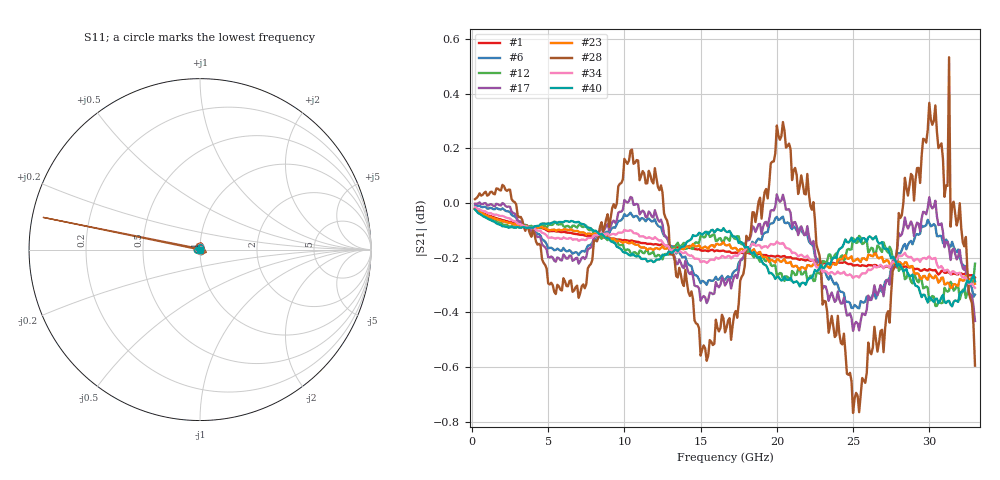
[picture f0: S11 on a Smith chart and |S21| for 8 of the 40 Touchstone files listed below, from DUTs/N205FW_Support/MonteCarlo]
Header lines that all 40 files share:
# GHZ S RI R 50
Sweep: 200 MHz to 33 GHz
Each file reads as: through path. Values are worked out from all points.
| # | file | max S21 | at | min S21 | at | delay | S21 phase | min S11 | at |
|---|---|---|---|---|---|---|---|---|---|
| 1 | N205FW_1.s2p | -0.02 dB | 200 MHz | -0.3 dB | 33 GHz | 248 ps | -42 deg at 16.6 GHz | -74.2 dB | 200 MHz |
| 2 | N205FW_4.s2p | -0.02 dB | 200 MHz | -0.3 dB | 33 GHz | 248 ps | -42 deg at 16.6 GHz | -72.4 dB | 200 MHz |
| 3 | N205FW_9.s2p | -0.02 dB | 200 MHz | -0.3 dB | 30.4 GHz | 248 ps | -42 deg at 16.6 GHz | -69.2 dB | 3.1 GHz |
| 4 | N205FW_15.s2p | 0.03 dB | 30 GHz | -0.5 dB | 25 GHz | 248 ps | -42 deg at 16.6 GHz | -69.1 dB | 28.3 GHz |
| 5 | N205FW_16.s2p | -0.02 dB | 200 MHz | -0.3 dB | 30.6 GHz | 248 ps | -42 deg at 16.6 GHz | -75.0 dB | 3.2 GHz |
| 6 | N205FW_17.s2p | -0.01 dB | 200 MHz | -0.4 dB | 25.4 GHz | 248 ps | -42 deg at 16.6 GHz | -67.3 dB | 200 MHz |
| 7 | N205FW_21.s2p | -0.01 dB | 200 MHz | -0.4 dB | 24.9 GHz | 248 ps | -42 deg at 16.6 GHz | -67.1 dB | 200 MHz |
| 8 | N205FW_24.s2p | -0.02 dB | 200 MHz | -0.4 dB | 30.4 GHz | 248 ps | -42 deg at 16.6 GHz | -66.4 dB | 200 MHz |
| 9 | N205FW_29.s2p | -0.01 dB | 200 MHz | -0.3 dB | 24.9 GHz | 248 ps | -42 deg at 16.6 GHz | -68.9 dB | 200 MHz |
| 10 | N205FW_30.s2p | -0.02 dB | 200 MHz | -0.3 dB | 32.9 GHz | 248 ps | -42 deg at 16.6 GHz | -69.8 dB | 200 MHz |
| 11 | N205FW_35.s2p | -0.02 dB | 200 MHz | -0.3 dB | 30.6 GHz | 248 ps | -42 deg at 16.6 GHz | -71.9 dB | 13.3 GHz |
| 12 | N205FW_39.s2p | -0.02 dB | 200 MHz | -0.4 dB | 30.4 GHz | 248 ps | -42 deg at 16.6 GHz | -70.9 dB | 200 MHz |
| 13 | N205FW_42.s2p | -0.02 dB | 200 MHz | -0.3 dB | 33 GHz | 248 ps | -42 deg at 16.6 GHz | -69.7 dB | 200 MHz |
| 14 | N205FW_43.s2p | 0.12 dB | 30 GHz | -0.6 dB | 25.4 GHz | 248 ps | -41 deg at 16.6 GHz | -66.7 dB | 8.3 GHz |
| 15 | N205FW_45.s2p | -0.02 dB | 200 MHz | -0.4 dB | 30.4 GHz | 248 ps | -42 deg at 16.6 GHz | -74.6 dB | 200 MHz |
| 16 | N205FW_47.s2p | -0.02 dB | 200 MHz | -0.3 dB | 30 GHz | 248 ps | -42 deg at 16.6 GHz | -68.0 dB | 200 MHz |
| 17 | N205FW_49.s2p | 0.03 dB | 20 GHz | -0.5 dB | 25 GHz | 248 ps | -42 deg at 16.6 GHz | -68.5 dB | 3.4 GHz |
| 18 | N205FW_50.s2p | -0.02 dB | 200 MHz | -0.4 dB | 30.4 GHz | 248 ps | -42 deg at 16.6 GHz | -68.3 dB | 500 MHz |
| 19 | N205FW_51.s2p | -0.02 dB | 200 MHz | -0.3 dB | 30 GHz | 248 ps | -42 deg at 16.6 GHz | -71.8 dB | 3.2 GHz |
| 20 | N205FW_53.s2p | -0.02 dB | 200 MHz | -0.3 dB | 31.4 GHz | 248 ps | -42 deg at 16.6 GHz | -70.7 dB | 200 MHz |
| 21 | N205FW_58.s2p | -0.02 dB | 200 MHz | -0.4 dB | 31.5 GHz | 248 ps | -42 deg at 16.6 GHz | -68.7 dB | 200 MHz |
| 22 | N205FW_59.s2p | -0.01 dB | 200 MHz | -0.4 dB | 25.4 GHz | 248 ps | -42 deg at 16.6 GHz | -68.7 dB | 200 MHz |
| 23 | N205FW_60.s2p | -0.02 dB | 200 MHz | -0.3 dB | 31.4 GHz | 248 ps | -42 deg at 16.6 GHz | -76.7 dB | 200 MHz |
| 24 | N205FW_62.s2p | -0.02 dB | 200 MHz | -0.3 dB | 31.4 GHz | 248 ps | -42 deg at 16.6 GHz | -71.0 dB | 200 MHz |
| 25 | N205FW_65.s2p | 0.08 dB | 30 GHz | -0.5 dB | 25 GHz | 248 ps | -42 deg at 16.6 GHz | -71.2 dB | 3.4 GHz |
| 26 | N205FW_66.s2p | -0.02 dB | 200 MHz | -0.3 dB | 28.4 GHz | 248 ps | -42 deg at 16.6 GHz | -71.1 dB | 3.1 GHz |
| 27 | N205FW_67.s2p | -0.02 dB | 200 MHz | -0.3 dB | 29.9 GHz | 248 ps | -42 deg at 16.6 GHz | -72.3 dB | 200 MHz |
| 28 | N205FW_69.s2p | 0.53 dB | 31.3 GHz | -0.8 dB | 25 GHz | - | -41 deg at 16.6 GHz | -63.5 dB | 2.6 GHz |
| 29 | N205FW_70.s2p | -0.02 dB | 200 MHz | -0.3 dB | 29.5 GHz | 248 ps | -42 deg at 16.6 GHz | -69.1 dB | 200 MHz |
| 30 | N205FW_71.s2p | -0.02 dB | 200 MHz | -0.3 dB | 30.6 GHz | 248 ps | -42 deg at 16.6 GHz | -71.8 dB | 200 MHz |
| 31 | N205FW_72.s2p | -0.02 dB | 200 MHz | -0.4 dB | 30.4 GHz | 248 ps | -42 deg at 16.6 GHz | -70.5 dB | 200 MHz |
| 32 | N205FW_78.s2p | 0.73 dB | 31.3 GHz | -0.7 dB | 25 GHz | - | -41 deg at 16.6 GHz | -84.2 dB | 3.4 GHz |
| 33 | N205FW_81.s2p | -0.01 dB | 200 MHz | -0.3 dB | 25.4 GHz | 248 ps | -42 deg at 16.6 GHz | -71.2 dB | 200 MHz |
| 34 | N205FW_83.s2p | -0.01 dB | 200 MHz | -0.3 dB | 33 GHz | 248 ps | -42 deg at 16.6 GHz | -71.8 dB | 200 MHz |
| 35 | N205FW_84.s2p | -0.02 dB | 200 MHz | -0.3 dB | 30.5 GHz | 248 ps | -42 deg at 16.6 GHz | -71.8 dB | 200 MHz |
| 36 | N205FW_89.s2p | -0.01 dB | 200 MHz | -0.4 dB | 25.4 GHz | 248 ps | -42 deg at 16.6 GHz | -69.5 dB | 200 MHz |
| 37 | N205FW_90.s2p | -0.02 dB | 200 MHz | -0.3 dB | 28.4 GHz | 248 ps | -42 deg at 16.6 GHz | -69.2 dB | 200 MHz |
| 38 | N205FW_93.s2p | -0.02 dB | 200 MHz | -0.3 dB | 30.5 GHz | 248 ps | -42 deg at 16.6 GHz | -71.5 dB | 200 MHz |
| 39 | N205FW_96.s2p | -0.01 dB | 200 MHz | -0.3 dB | 25.4 GHz | 248 ps | -42 deg at 16.6 GHz | -69.6 dB | 200 MHz |
| 40 | N205FW_98.s2p | -0.02 dB | 200 MHz | -0.4 dB | 31.5 GHz | 248 ps | -42 deg at 16.6 GHz | -71.2 dB | 200 MHz |
